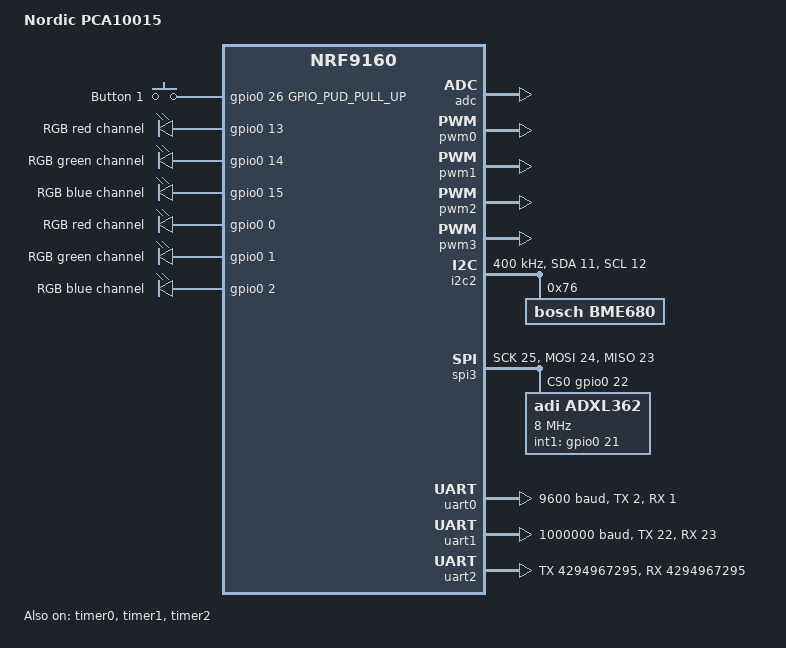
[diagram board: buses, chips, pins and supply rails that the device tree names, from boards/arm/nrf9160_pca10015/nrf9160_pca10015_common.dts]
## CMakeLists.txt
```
#
# Copyright (c) 2019-2021, Nordic Semiconductor ASA | nordicsemi.no
#
# SPDX-License-Identifier: LicenseRef-BSD-5-Clause-Nordic
#

cmake_minimum_required(VERSION 3.8.2)

find_package(Zephyr REQUIRED HINTS $ENV{ZEPHYR_BASE})
project(cat_tracker)

# NORDIC SDK APP START
target_sources(app PRIVATE src/main.c)
# NORDIC SDK APP END

# Include source directory
zephyr_include_directories(src)

# Application directories
add_subdirectory(src/ui)
add_subdirectory(src/cloud_codec)
add_subdirectory(src/ext_sensors)
add_subdirectory_ifdef(CONFIG_WATCHDOG src/watchdog)
```

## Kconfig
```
#
# Copyright (c) 2018-2021, Nordic Semiconductor ASA | nordicsemi.no
#
# SPDX-License-Identifier: LicenseRef-BSD-5-Clause-Nordic
#

menu "Cat Tracker sample"

rsource "src/ui/Kconfig"

menu "GPS"

config GPS_DEV_NAME
	string "GPS device name"
	default "NRF9160_GPS"

endmenu # GPS

menu "Firmware versioning"

config CAT_TRACKER_APP_VERSION
	string "The version of the cat tracker firmware"
	default "0.0.0-development"

config EXPECTED_MODEM_FIRMWARE_VERSION
	string "The expected modem firmware version"
	default "mfw_nrf9160_1.2.2"

endmenu # Firmware versioning

menu "Cloud"

config CLOUD_BACKEND
	string
	default "AWS_IOT"

config USE_CUSTOM_MQTT_CLIENT_ID
	bool "Use custom MQTT client ID"
	help
	  By default the device's IMEI is used as the client ID
	  for the MQTT connection. This allows to use a fixed
	  value instead. This is mostly useful when providing
	  firmware builds to continuous integration tests on
	  real hardware.
	  Note: you must only run this firmware build on one
	  device at a time.

config MQTT_CLIENT_ID
	depends on USE_CUSTOM_MQTT_CLIENT_ID
	string	"Configures the custom MQTT client ID"
	default "yoghurt"

endmenu # Cloud

menu "External sensors"

config EXTERNAL_SENSORS
	bool "Enable external sensors"
	default y if BOARD_THINGY91_NRF9160NS || BOARD_NRF9160_PCA10015NS

config ACCELEROMETER_DEV_NAME
	string "Accelerometer device name"

config MULTISENSOR_DEV_NAME
	string "Multisensor device name"

config ACCELEROMETER_TRIGGER
	bool "Accelerometer trigger"

endmenu # External sensors

menu "Cloud codec"

config SERIALIZATION_JSON
	bool "Cloud communication enconding"
	default y
	select CJSON_LIB

config GPS_BUFFER_MAX
	int "Sets the number of entries in the GPS buffer"
	default 20

config SENSOR_BUFFER_MAX
	int "Sets the number of entries in the sensor buffer"
	default 20

config MODEM_BUFFER_MAX
	int "Sets the number of entries in the modem buffer"
	default 20

config UI_BUFFER_MAX
	int "Sets the number of entries in the UI buffer"
	default 20

config ACCEL_BUFFER_MAX
	int "Sets the number of entries in the accelerometer buffer"
	default 20

config BAT_BUFFER_MAX
	int "Sets the number of entries in the battery buffer"
	default 20

config ENCODED_BUFFER_ENTRIES_MAX
	int "Maximum amount of encoded and published sensor buffer entries"
	default 7

config TIME_BETWEEN_ACCELEROMETER_BUFFER_STORE_SEC
	int "Time in between accelerometer buffer updates"
	default 10

endmenu # Cloud codec

menu "Watchdog"

config CAT_TRACKER_WATCHDOG_TIMEOUT_SEC
	int "Watchdog timeout in seconds"
	default 60

endmenu # Watchdog

endmenu

menu "Zephyr Kernel"
source "Kconfig.zephyr"
endmenu

module = CAT_TRACKER
module-str = Cat Tracker
source "subsys/logging/Kconfig.template.log_config"
```

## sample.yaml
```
sample:
  name: Cat Tracker Application
tests:
  test_build:
    build_only: true
    build_on_all: true
    platform_whitelist: nrf9160dk_nrf9160ns nrf9160_pca20035ns qemu_x86
    tags: ci_build
```

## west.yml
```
manifest:
  remotes:
    - name: nordic
      url-base: https://github.com/nrfconnect
  projects:
    - name: sdk-nrf
      path: nrf
      remote: nordic
      revision: ff710e16cd45c253a77b00c2d8fb39e006b6a19d
      import: true
  self:
    path: firmware
```

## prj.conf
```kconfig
#
# Copyright (c) 2019-2020 Nordic Semiconductor ASA
#
# SPDX-License-Identifier: LicenseRef-BSD-5-Clause-Nordic
#

# General config
CONFIG_NEWLIB_LIBC=y
CONFIG_NEWLIB_LIBC_FLOAT_PRINTF=y
CONFIG_ASSERT=y
CONFIG_REBOOT=y
CONFIG_LOG=y
CONFIG_LOG_IMMEDIATE=y
# Forces a maximal log level for all modules.
# Modules saturates their specified level if it is greater than this option,
# otherwise they use the level specified by this option instead of their default
# or whatever was manually set. Levels are:
#
# 0 OFF, logging is turned off
# 1 ERROR, maximal level set to LOG_LEVEL_ERR
# 2 WARNING, maximal level set to LOG_LEVEL_WRN
# 3 INFO, maximal level set to LOG_LEVEL_INFO
# 4 DEBUG, maximal level set to LOG_LEVEL_DBG
CONFIG_LOG_MAX_LEVEL=3

# Buttons and LEDs
CONFIG_DK_LIBRARY=y
CONFIG_DK_LIBRARY_INVERT_LEDS=n

# Network
CONFIG_NETWORKING=y
CONFIG_NET_SOCKETS=y
CONFIG_NET_SOCKETS_OFFLOAD=y

# LTE link control
CONFIG_LTE_LINK_CONTROL=y
CONFIG_LTE_AUTO_INIT_AND_CONNECT=n
CONFIG_LTE_NETWORK_MODE_NBIOT_GPS=y
CONFIG_LTE_PSM_REQ_RPTAU="01000011"
CONFIG_LTE_PSM_REQ_RAT="00000000"

# Modem info
CONFIG_MODEM_INFO=y

# BSD library
CONFIG_BSD_LIBRARY=y
CONFIG_BSD_LIBRARY_TRACE_ENABLED=n

# AT Host
CONFIG_AT_HOST_LIBRARY=n

# AWS IoT
CONFIG_CLOUD_API=y
CONFIG_AWS_IOT=y
CONFIG_AWS_IOT_TOPIC_UPDATE_DELTA_SUBSCRIBE=y
CONFIG_AWS_IOT_MQTT_RX_TX_BUFFER_LEN=2048
CONFIG_AWS_IOT_MQTT_PAYLOAD_BUFFER_LEN=2048
CONFIG_AWS_IOT_APP_SUBSCRIPTION_LIST_COUNT=1
CONFIG_AWS_IOT_CLIENT_ID_APP=y
CONFIG_AWS_IOT_SEC_TAG=42
CONFIG_AWS_IOT_PERSISTENT_SESSIONS=y
CONFIG_AWS_IOT_CONNECTION_POLL_THREAD=y

# GPS
CONFIG_NRF9160_GPS=y
CONFIG_NRF9160_GPS_LOG_LEVEL_DBG=y

# Console
CONFIG_CONSOLE_SUBSYS=y
CONFIG_CONSOLE_HANDLER=y
CONFIG_CONSOLE_GETCHAR=y

# Heap and stacks
CONFIG_HEAP_MEM_POOL_SIZE=16384
CONFIG_MAIN_STACK_SIZE=8192
CONFIG_SYSTEM_WORKQUEUE_STACK_SIZE=2048
CONFIG_HW_STACK_PROTECTION=y

# Disable native network stack to save some memory
CONFIG_NET_IPV4=n
CONFIG_NET_IPV6=n
CONFIG_NET_UDP=n
CONFIG_NET_TCP=n

# Settings
CONFIG_FLASH=y
CONFIG_FLASH_PAGE_LAYOUT=y
CONFIG_FLASH_MAP=y
CONFIG_FCB=y
CONFIG_SETTINGS=y
CONFIG_SETTINGS_FCB=y
CONFIG_MPU_ALLOW_FLASH_WRITE=y

# MCUBOOT
CONFIG_BOOTLOADER_MCUBOOT=y
CONFIG_IMG_MANAGER=y
CONFIG_MCUBOOT_IMG_MANAGER=y
CONFIG_IMG_ERASE_PROGRESSIVELY=y

# AWS FOTA
CONFIG_FOTA_DOWNLOAD=y
CONFIG_AWS_FOTA=y
CONFIG_AWS_FOTA_LOG_LEVEL_DBG=y
CONFIG_AWS_JOBS_LOG_LEVEL_DBG=y
CONFIG_DFU_TARGET=y

# Download client (needed by AWS FOTA)
CONFIG_DOWNLOAD_CLIENT=y
CONFIG_DOWNLOAD_CLIENT_STACK_SIZE=4096

# Time managing
CONFIG_DATE_TIME=y
CONFIG_DATE_TIME_LOG_LEVEL_DBG=y

# Fatal error
CONFIG_RESET_ON_FATAL_ERROR=n

# Watchdog
CONFIG_WATCHDOG=y
```

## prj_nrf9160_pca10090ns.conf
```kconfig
#
# Copyright (c) 2019-2020 Nordic Semiconductor ASA
#
# SPDX-License-Identifier: LicenseRef-BSD-5-Clause-Nordic
#

# General config
CONFIG_NEWLIB_LIBC=y
CONFIG_NEWLIB_LIBC_FLOAT_PRINTF=y
CONFIG_ASSERT=y
CONFIG_REBOOT=y
CONFIG_LOG=y
CONFIG_LOG_IMMEDIATE=y
# Forces a maximal log level for all modules.
# Modules saturates their specified level if it is greater than this option,
# otherwise they use the level specified by this option instead of their default
# or whatever was manually set. Levels are:
#
# 0 OFF, logging is turned off
# 1 ERROR, maximal level set to LOG_LEVEL_ERR
# 2 WARNING, maximal level set to LOG_LEVEL_WRN
# 3 INFO, maximal level set to LOG_LEVEL_INFO
# 4 DEBUG, maximal level set to LOG_LEVEL_DBG
CONFIG_LOG_MAX_LEVEL=3
# This enables debug messages from the cat tracker module in case
# CONFIG_LOG_MAX_LEVEL is set to 4
CONFIG_CAT_TRACKER_LOG_LEVEL_DBG=y

# Buttons and LEDs
CONFIG_DK_LIBRARY=y
CONFIG_DK_LIBRARY_INVERT_LEDS=n

# Network
CONFIG_NETWORKING=y
CONFIG_NET_SOCKETS=y
CONFIG_NET_SOCKETS_OFFLOAD=y

# LTE link control
CONFIG_LTE_LINK_CONTROL=y
CONFIG_LTE_AUTO_INIT_AND_CONNECT=n
CONFIG_LTE_NETWORK_MODE_NBIOT_GPS=y
CONFIG_LTE_PSM_REQ_RPTAU="01000011"
CONFIG_LTE_PSM_REQ_RAT="00000000"

# Modem info
CONFIG_MODEM_INFO=y

# BSD library
CONFIG_BSD_LIBRARY=y
CONFIG_BSD_LIBRARY_TRACE_ENABLED=n

# AT Host
CONFIG_AT_HOST_LIBRARY=n

# AWS IoT
CONFIG_CLOUD_API=y
CONFIG_AWS_IOT=y
CONFIG_AWS_IOT_TOPIC_UPDATE_DELTA_SUBSCRIBE=y
CONFIG_AWS_IOT_MQTT_RX_TX_BUFFER_LEN=2048
CONFIG_AWS_IOT_MQTT_PAYLOAD_BUFFER_LEN=2048
CONFIG_AWS_IOT_APP_SUBSCRIPTION_LIST_COUNT=1
CONFIG_AWS_IOT_CLIENT_ID_APP=y
CONFIG_AWS_IOT_SEC_TAG=42
CONFIG_AWS_IOT_PERSISTENT_SESSIONS=y
CONFIG_AWS_IOT_CONNECTION_POLL_THREAD=y

# GPS
CONFIG_NRF9160_GPS=y
CONFIG_NRF9160_GPS_LOG_LEVEL_DBG=y

# Console
CONFIG_CONSOLE_SUBSYS=y
CONFIG_CONSOLE_HANDLER=y
CONFIG_CONSOLE_GETCHAR=y

# Heap and stacks
CONFIG_HEAP_MEM_POOL_SIZE=16384
CONFIG_MAIN_STACK_SIZE=8192
CONFIG_SYSTEM_WORKQUEUE_STACK_SIZE=2048
CONFIG_HW_STACK_PROTECTION=y

# Disable native network stack to save some memory
CONFIG_NET_IPV4=n
CONFIG_NET_IPV6=n
CONFIG_NET_UDP=n
CONFIG_NET_TCP=n

# Settings
CONFIG_FLASH=y
CONFIG_FLASH_PAGE_LAYOUT=y
CONFIG_FLASH_MAP=y
CONFIG_FCB=y
CONFIG_SETTINGS=y
CONFIG_SETTINGS_FCB=y
CONFIG_MPU_ALLOW_FLASH_WRITE=y

# MCUBOOT
CONFIG_BOOTLOADER_MCUBOOT=y
CONFIG_IMG_MANAGER=y
CONFIG_MCUBOOT_IMG_MANAGER=y
CONFIG_IMG_ERASE_PROGRESSIVELY=y

# AWS FOTA
CONFIG_FOTA_DOWNLOAD=y
CONFIG_AWS_FOTA=y
CONFIG_AWS_FOTA_LOG_LEVEL_DBG=y
CONFIG_AWS_JOBS_LOG_LEVEL_DBG=y
CONFIG_DFU_TARGET=y

# Download client (needed by AWS FOTA)
CONFIG_DOWNLOAD_CLIENT=y
CONFIG_DOWNLOAD_CLIENT_STACK_SIZE=4096

# Time managing
CONFIG_DATE_TIME=y
CONFIG_DATE_TIME_LOG_LEVEL_DBG=y

# Fatal error
CONFIG_RESET_ON_FATAL_ERROR=n

# Watchdog
CONFIG_WATCHDOG=y
```

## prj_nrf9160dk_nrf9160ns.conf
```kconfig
#
# Copyright (c) 2019-2021, Nordic Semiconductor ASA | nordicsemi.no
#
# SPDX-License-Identifier: LicenseRef-BSD-5-Clause-Nordic
#

# General config
CONFIG_NEWLIB_LIBC=y
CONFIG_NEWLIB_LIBC_FLOAT_PRINTF=y
CONFIG_ASSERT=y
CONFIG_REBOOT=y
CONFIG_LOG=y
CONFIG_LOG_IMMEDIATE=y
# Forces a maximal log level for all modules.
# Modules saturates their specified level if it is greater than this option,
# otherwise they use the level specified by this option instead of their default
# or whatever was manually set. Levels are:
#
# 0 OFF, logging is turned off
# 1 ERROR, maximal level set to LOG_LEVEL_ERR
# 2 WARNING, maximal level set to LOG_LEVEL_WRN
# 3 INFO, maximal level set to LOG_LEVEL_INFO
# 4 DEBUG, maximal level set to LOG_LEVEL_DBG
CONFIG_LOG_MAX_LEVEL=3
# This enables debug messages from the cat tracker module in case
# CONFIG_LOG_MAX_LEVEL is set to 4
CONFIG_CAT_TRACKER_LOG_LEVEL_DBG=y

# Buttons and LEDs
CONFIG_DK_LIBRARY=y
CONFIG_DK_LIBRARY_INVERT_LEDS=n

# Network
CONFIG_NETWORKING=y
CONFIG_NET_SOCKETS=y
CONFIG_NET_SOCKETS_OFFLOAD=y

# LTE link control
CONFIG_LTE_LINK_CONTROL=y
CONFIG_LTE_AUTO_INIT_AND_CONNECT=n
CONFIG_LTE_NETWORK_MODE_NBIOT_GPS=y
CONFIG_LTE_PSM_REQ_RPTAU="01000011"
CONFIG_LTE_PSM_REQ_RAT="00000000"

# Modem info
CONFIG_MODEM_INFO=y

# BSD library
CONFIG_BSD_LIBRARY=y
CONFIG_BSD_LIBRARY_TRACE_ENABLED=n

# AT Host
CONFIG_AT_HOST_LIBRARY=n

# AWS IoT
CONFIG_CLOUD_API=y
CONFIG_AWS_IOT=y
CONFIG_AWS_IOT_TOPIC_UPDATE_DELTA_SUBSCRIBE=y
CONFIG_AWS_IOT_MQTT_RX_TX_BUFFER_LEN=2048
CONFIG_AWS_IOT_MQTT_PAYLOAD_BUFFER_LEN=2048
CONFIG_AWS_IOT_APP_SUBSCRIPTION_LIST_COUNT=1
CONFIG_AWS_IOT_CLIENT_ID_APP=y
CONFIG_AWS_IOT_SEC_TAG=42
CONFIG_AWS_IOT_CONNECTION_POLL_THREAD=y
CONFIG_AWS_IOT_LOG_LEVEL_DBG=y

# MQTT
CONFIG_MQTT_KEEPALIVE=1200
CONFIG_MQTT_CLEAN_SESSION=y

# GPS
CONFIG_NRF9160_GPS=y
CONFIG_NRF9160_GPS_LOG_LEVEL_DBG=y

# Console
CONFIG_CONSOLE_SUBSYS=y
CONFIG_CONSOLE_HANDLER=y
CONFIG_CONSOLE_GETCHAR=y

# Heap and stacks
CONFIG_HEAP_MEM_POOL_SIZE=16384
CONFIG_MAIN_STACK_SIZE=8192
CONFIG_SYSTEM_WORKQUEUE_STACK_SIZE=2048
CONFIG_HW_STACK_PROTECTION=y

# Disable native network stack to save some memory
CONFIG_NET_IPV4=n
CONFIG_NET_IPV6=n
CONFIG_NET_UDP=n
CONFIG_NET_TCP=n

# Settings
CONFIG_FLASH=y
CONFIG_FLASH_PAGE_LAYOUT=y
CONFIG_FLASH_MAP=y
CONFIG_FCB=y
CONFIG_SETTINGS=y
CONFIG_SETTINGS_FCB=y
CONFIG_MPU_ALLOW_FLASH_WRITE=y

# MCUBOOT
CONFIG_BOOTLOADER_MCUBOOT=y
CONFIG_IMG_MANAGER=y
CONFIG_MCUBOOT_IMG_MANAGER=y
CONFIG_IMG_ERASE_PROGRESSIVELY=y

# AWS FOTA
CONFIG_FOTA_DOWNLOAD=y
CONFIG_AWS_FOTA=y
CONFIG_AWS_FOTA_LOG_LEVEL_DBG=y
CONFIG_AWS_JOBS_LOG_LEVEL_DBG=y
CONFIG_DFU_TARGET=y

# Download client (needed by AWS FOTA)
CONFIG_DOWNLOAD_CLIENT=y
CONFIG_DOWNLOAD_CLIENT_STACK_SIZE=4096
CONFIG_DOWNLOAD_CLIENT_MAX_HOSTNAME_SIZE=255
CONFIG_DOWNLOAD_CLIENT_MAX_FILENAME_SIZE=255

# Time managing
CONFIG_DATE_TIME=y
CONFIG_DATE_TIME_LOG_LEVEL_DBG=y

# Fatal error
CONFIG_RESET_ON_FATAL_ERROR=n

# Watchdog
CONFIG_WATCHDOG=y
```

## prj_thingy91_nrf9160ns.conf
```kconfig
#
# Copyright (c) 2019-2021, Nordic Semiconductor ASA | nordicsemi.no
#
# SPDX-License-Identifier: LicenseRef-BSD-5-Clause-Nordic
#

# General config
CONFIG_NEWLIB_LIBC=y
CONFIG_NEWLIB_LIBC_FLOAT_PRINTF=y
CONFIG_ASSERT=y
CONFIG_REBOOT=y
CONFIG_LOG=y
CONFIG_LOG_IMMEDIATE=y
# Forces a maximal log level for all modules.
# Modules saturates their specified level if it is greater than this option,
# otherwise they use the level specified by this option instead of their default
# or whatever was manually set. Levels are:
#
# 0 OFF, logging is turned off
# 1 ERROR, maximal level set to LOG_LEVEL_ERR
# 2 WARNING, maximal level set to LOG_LEVEL_WRN
# 3 INFO, maximal level set to LOG_LEVEL_INFO
# 4 DEBUG, maximal level set to LOG_LEVEL_DBG
CONFIG_LOG_MAX_LEVEL=3
# This enables debug messages from the cat tracker module in case
# CONFIG_LOG_MAX_LEVEL is set to 4
CONFIG_CAT_TRACKER_LOG_LEVEL_DBG=y

# Buttons and LEDs
CONFIG_DK_LIBRARY=y
CONFIG_DK_LIBRARY_INVERT_LEDS=n

# Network
CONFIG_NETWORKING=y
CONFIG_NET_SOCKETS=y
CONFIG_NET_SOCKETS_OFFLOAD=y

# LTE link control
CONFIG_LTE_LINK_CONTROL=y
CONFIG_LTE_AUTO_INIT_AND_CONNECT=n
CONFIG_LTE_NETWORK_MODE_NBIOT_GPS=y
CONFIG_LTE_PSM_REQ_RPTAU="01000011"
CONFIG_LTE_PSM_REQ_RAT="00000000"

# Modem info
CONFIG_MODEM_INFO=y

# BSD library
CONFIG_BSD_LIBRARY=y
CONFIG_BSD_LIBRARY_TRACE_ENABLED=n

# AT Host
CONFIG_AT_HOST_LIBRARY=n

# AWS IoT
CONFIG_CLOUD_API=y
CONFIG_AWS_IOT=y
CONFIG_AWS_IOT_TOPIC_UPDATE_DELTA_SUBSCRIBE=y
CONFIG_AWS_IOT_MQTT_RX_TX_BUFFER_LEN=2048
CONFIG_AWS_IOT_MQTT_PAYLOAD_BUFFER_LEN=2048
CONFIG_AWS_IOT_APP_SUBSCRIPTION_LIST_COUNT=1
CONFIG_AWS_IOT_CLIENT_ID_APP=y
CONFIG_AWS_IOT_SEC_TAG=42
CONFIG_AWS_IOT_CONNECTION_POLL_THREAD=y
CONFIG_AWS_IOT_LOG_LEVEL_DBG=y

# MQTT
CONFIG_MQTT_KEEPALIVE=1200
CONFIG_MQTT_CLEAN_SESSION=y

# GPS
CONFIG_NRF9160_GPS=y
CONFIG_NRF9160_GPS_LOG_LEVEL_DBG=y

# Sensor API
CONFIG_SENSOR=y

# Accelerometer
CONFIG_ACCELEROMETER_DEV_NAME="ADXL362"
CONFIG_ADXL362=y
CONFIG_SPI=y
CONFIG_ACCELEROMETER_TRIGGER=y
CONFIG_ADXL362_TRIGGER_GLOBAL_THREAD=y
CONFIG_ADXL362_INTERRUPT_MODE=1
CONFIG_ADXL362_ABS_REF_MODE=1
CONFIG_ADXL362_ACTIVITY_THRESHOLD=400
CONFIG_ADXL362_INACTIVITY_THRESHOLD=300

# Temperature and humidity
CONFIG_MULTISENSOR_DEV_NAME="BME680"
CONFIG_BME680=y

# Console
CONFIG_CONSOLE_SUBSYS=y
CONFIG_CONSOLE_HANDLER=y
CONFIG_CONSOLE_GETCHAR=y

# Heap and stacks
CONFIG_HEAP_MEM_POOL_SIZE=16384
CONFIG_MAIN_STACK_SIZE=8192
CONFIG_SYSTEM_WORKQUEUE_STACK_SIZE=2048
CONFIG_HW_STACK_PROTECTION=y

# Disable native network stack to save some memory
CONFIG_NET_IPV4=n
CONFIG_NET_IPV6=n
CONFIG_NET_UDP=n
CONFIG_NET_TCP=n

# Settings
CONFIG_FLASH=y
CONFIG_FLASH_PAGE_LAYOUT=y
CONFIG_FLASH_MAP=y
CONFIG_FCB=y
CONFIG_SETTINGS=y
CONFIG_SETTINGS_FCB=y
CONFIG_MPU_ALLOW_FLASH_WRITE=y

# MCUBOOT
CONFIG_BOOTLOADER_MCUBOOT=y
CONFIG_IMG_MANAGER=y
CONFIG_MCUBOOT_IMG_MANAGER=y
CONFIG_IMG_ERASE_PROGRESSIVELY=y

# AWS FOTA
CONFIG_FOTA_DOWNLOAD=y
CONFIG_AWS_FOTA=y
CONFIG_AWS_FOTA_LOG_LEVEL_DBG=y
CONFIG_AWS_JOBS_LOG_LEVEL_DBG=y
CONFIG_DFU_TARGET=y

# Download client (needed by AWS FOTA)
CONFIG_DOWNLOAD_CLIENT=y
CONFIG_DOWNLOAD_CLIENT_STACK_SIZE=4096

# Time managing
CONFIG_DATE_TIME=y
CONFIG_DATE_TIME_LOG_LEVEL_DBG=y

# Fatal error
CONFIG_RESET_ON_FATAL_ERROR=n

# Watchdog
CONFIG_WATCHDOG=y
```

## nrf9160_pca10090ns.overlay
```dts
&spi3 {
	status = "okay";
	sck-pin = <10>;
	mosi-pin = <11>;
	miso-pin = <12>;
	cs-gpios = <&gpio0 30 0>, <&gpio0 7 0>;

	adxl362@0 {
		compatible = "adi,adxl362";
		label = "ADXL362";
		spi-max-frequency = <8000000>;
		reg = <0>;
		int1-gpios = <&gpio0 31 0>;
	};
};
```

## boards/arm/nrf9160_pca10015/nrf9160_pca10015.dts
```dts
/*
 * Copyright (c) 2019 Nordic Semiconductor ASA
 *
 * SPDX-License-Identifier: LicenseRef-BSD-5-Clause-Nordic
 */

/dts-v1/;
#include <nordic/nrf9160_sica.dtsi>
#include "nrf9160_pca10015_common.dts"

/ {
	chosen {
		zephyr,sram = &sram0;
		zephyr,flash = &flash0;
		zephyr,code-partition = &slot0_partition;
	};
};
```

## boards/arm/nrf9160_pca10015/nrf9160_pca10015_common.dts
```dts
/*
 * Copyright (c) 2019 Nordic Semiconductor ASA
 *
 * SPDX-License-Identifier: LicenseRef-BSD-5-Clause-Nordic
 */

/ {
	model = "Nordic PCA10015";
	compatible = "nordic,pca10015", "nordic,nrf9160-sica",
		     "nordic,nrf9160";

	chosen {
		zephyr,console = &uart0;
		zephyr,shell-uart = &uart0;
		zephyr,uart-mcumgr = &uart0;
	};

	buttons {
		compatible = "gpio-keys";

		button0: button_0 {
			gpios = <&gpio0 26 GPIO_PUD_PULL_UP>;
			label = "Button 1";
		};
	};

	leds {
		compatible = "gpio-leds";
		red_led: led_1 {
			gpios = <&gpio0 13 0>;
			label = "RGB red channel";
		};
		green_led: led_2 {
			gpios = <&gpio0 14 0>;
			label = "RGB green channel";
		};
		blue_led: led_3 {
			gpios = <&gpio0 15 0>;
			label = "RGB blue channel";
		};
		sense_red_led: led_4 {
			gpios = <&gpio0 0 0>;
			label = "RGB red channel";
		};
		sense_green_led: led_5 {
			gpios = <&gpio0 1 0>;
			label = "RGB green channel";
		};
		sense_blue_led: led_6 {
			gpios = <&gpio0 2 0>;
			label = "RGB blue channel";
		};
	};

	aliases {
		sw0 = &button0;
		led0 = &red_led;
		led1 = &green_led;
		led2 = &blue_led;
		sense-led0 = &sense_red_led;
		sense-led1 = &sense_green_led;
		sense-led2 = &sense_blue_led;
		rgb-pwm = &pwm0;
		buzzer-pwm = &pwm1;
		nmos-pwm = &pwm2;
	};
};

&adc {
	status = "okay";
};

&gpiote {
	status = "okay";
};

&gpio0 {
	status = "okay";
};

/* PWM0 is intended for RGB LED control */
&pwm0 {
	status = "okay";
	ch0-pin = <13>;
	ch1-pin = <14>;
	ch2-pin = <15>;
};

/* PWM1 is intended for buzzer control */
&pwm1 {
	status = "okay";
	ch0-pin = <28>;
};

/* PWM2 is intended for NMOS transistor control */
&pwm2 {
	status = "okay";
	ch0-pin = <13>;
	ch1-pin = <14>;
	ch2-pin = <15>;
	ch3-pin = <16>;
};

&pwm3 {
	status = "okay";
};

&i2c2 {
	compatible = "nordic,nrf-twim";	
	status = "okay";
	sda-pin = <11>;
	scl-pin = <12>;
	clock-frequency = <I2C_BITRATE_FAST>;

	bme680@76 {
		compatible = "bosch,bme680";
		label = "BME680";
		reg = <0x76>;
	};
};

&spi3 {
	compatible = "nordic,nrf-spim";	
	status = "okay";
	sck-pin = <25>;
	mosi-pin = <24>;
	miso-pin = <23>;
	cs-gpios = <&gpio0 22 0>, <&gpio0 7 0>;

	adxl362@0 {
		compatible = "adi,adxl362";
		label = "ADXL362";
		spi-max-frequency = <8000000>;
		reg = <0>;
		int1-gpios = <&gpio0 21 0>;
	};
};

&timer0 {
	status = "okay";
};

&timer1 {
	status = "okay";
};

&timer2 {
	status = "okay";
};

&uart0 {
	current-speed = <9600>;
	status = "okay";
	tx-pin = <2>;
	rx-pin = <1>;
	rts-pin = <3>;
	cts-pin = <4>;
};

&uart1 {
	current-speed = <1000000>;
	status = "okay";
	tx-pin = <22>;
	rx-pin = <23>;
	rts-pin = <24>;
	cts-pin = <25>;
};

/*
 * UART2 must be enabled for defines to be available for SPM for now.
 * "Required" pins are set to the disconnect value 0xFFFFFFFF.
 */
&uart2 {
	status = "okay";
	tx-pin = <0xFFFFFFFF>;
	rx-pin = <0xFFFFFFFF>;
};

&flash0 {
	/*
	 * For more information, see:
	 * http://docs.zephyrproject.org/devices/dts/flash_partitions.html
	 */
	partitions {
		compatible = "fixed-partitions";
		#address-cells = <1>;
		#size-cells = <1>;

		boot_partition: partition@0 {
			label = "mcuboot";
			reg = <0x00000000 0x10000>;
		};
		slot0_partition: partition@10000 {
			label = "image-0";
		};
		slot0_ns_partition: partition@40000 {
			label = "image-0-nonsecure";
		};
		slot1_partition: partition@80000 {
			label = "image-1";
		};
		slot1_ns_partition: partition@b0000 {
			label = "image-1-nonsecure";
		};
		scratch_partition: partition@f0000 {
			label = "image-scratch";
			reg = <0x000f0000 0xa000>;
		};
		storage_partition: partition@fa000 {
			label = "storage";
			reg = <0x000fa000 0x00006000>;
		};
	};
};

/ {
	/* SRAM allocated and used by the BSD library */
	sram0_bsd: memory@20010000 {
		device_type = "memory";
		compatible = "mmio-sram";
	};

	/* SRAM allocated to the Non-Secure image */
	sram0_ns: memory@20020000 {
		device_type = "memory";
		compatible = "mmio-sram";
	};
};

/* Include partition configuration file */
#include "nrf9160_pca10015_partition_conf.dts"
```

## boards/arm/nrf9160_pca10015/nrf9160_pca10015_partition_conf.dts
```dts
/*
 * Copyright (c) 2019 Nordic Semiconductor ASA
 *
 * SPDX-License-Identifier: LicenseRef-BSD-5-Clause-Nordic
 */

/*
 * Default Flash planning for nRF9160_pca10015.
 *
 * Zephyr build for nRF9160 with ARM TrustZone-M support,
 * implies building Secure and Non-Secure Zephyr images.
 *
 * Secure image will be placed, by default, in flash0
 * (or in slot0, if MCUboot is present).
 * Secure image will use sram0 for system memory.
 *
 * Non-Secure image will be placed in slot0_ns, and use
 * sram0_ns for system memory.
 *
 * Note that the Secure image only requires knowledge of
 * the beginning of the Non-Secure image (not its size).
 */

&slot0_partition {
	reg = <0x00010000 0x30000>;
};

&slot0_ns_partition {
	reg = <0x00040000 0x40000>;
};

&slot1_partition {
	reg = <0x00080000 0x30000>;
};

&slot1_ns_partition {
	reg = <0x000b0000 0x40000>;
};

/* Default SRAM planning when building for nRF9160 with
 * ARM TrustZone-M support
 * - Lowest 64 kB SRAM allocated to Secure image (sram0).
 * - 64 kB SRAM reserved for and used by the BSD socket
 *   library.
 * - Upper 128 kB allocated to Non-Secure image (sram0_ns).
 */

&sram0 {
	reg = <0x20000000 DT_SIZE_K(64)>;
};

&sram0_bsd {
	reg = <0x20010000 DT_SIZE_K(64)>;
};

&sram0_ns {
	reg = <0x20020000 DT_SIZE_K(128)>;
};
```

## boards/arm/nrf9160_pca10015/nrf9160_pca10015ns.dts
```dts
/*
 * Copyright (c) 2019 Nordic Semiconductor ASA
 *
 * SPDX-License-Identifier: LicenseRef-BSD-5-Clause-Nordic
 */

/dts-v1/;
#include <nordic/nrf9160ns_sica.dtsi>
#include "nrf9160_pca10015_common.dts"

/ {
	chosen {
		zephyr,flash = &flash0;
		zephyr,sram = &sram0_ns;
		zephyr,code-partition = &slot0_ns_partition;
	};
};
```

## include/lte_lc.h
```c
/**
 * @file lte_lc.h
 *
 * @brief Public APIs for the LTE Link Control driver.
 */

/*
 * Copyright (c) 2018 Nordic Semiconductor ASA
 *
 * SPDX-License-Identifier: LicenseRef-BSD-5-Clause-Nordic
 */
#ifndef ZEPHYR_INCLUDE_LTE_LINK_CONTROL_H_
#define ZEPHYR_INCLUDE_LTE_LINK_CONTROL_H_

#include <stdbool.h>

/* NOTE: enum lte_lc_nw_reg_status maps directly to the registration status
 *	 as returned by the AT command "AT+CEREG?".
 */
enum lte_lc_nw_reg_status {
	LTE_LC_NW_REG_NOT_REGISTERED		= 0,
	LTE_LC_NW_REG_REGISTERED_HOME		= 1,
	LTE_LC_NW_REG_SEARCHING			= 2,
	LTE_LC_NW_REG_REGISTRATION_DENIED	= 3,
	LTE_LC_NW_REG_UNKNOWN			= 4,
	LTE_LC_NW_REG_REGISTERED_ROAMING	= 5,
	LTE_LC_NW_REG_REGISTERED_EMERGENCY	= 8,
	LTE_LC_NW_REG_UICC_FAIL			= 90
};

enum lte_lc_system_mode {
	LTE_LC_SYSTEM_MODE_NONE,
	LTE_LC_SYSTEM_MODE_LTEM,
	LTE_LC_SYSTEM_MODE_NBIOT,
	LTE_LC_SYSTEM_MODE_GPS,
	LTE_LC_SYSTEM_MODE_LTEM_GPS,
	LTE_LC_SYSTEM_MODE_NBIOT_GPS
};

/* NOTE: enum lte_lc_func_mode maps directly to the functional mode
 *	 as returned by the AT command "AT+CFUN?".
 */
enum lte_lc_func_mode {
	LTE_LC_FUNC_MODE_POWER_OFF		= 0,
	LTE_LC_FUNC_MODE_NORMAL			= 1,
	LTE_LC_FUNC_MODE_OFFLINE		= 4,
	LTE_LC_FUNC_MODE_OFFLINE_UICC_ON	= 44
};

/** @brief Function for initializing
 * the modem.  NOTE: a follow-up call to lte_lc_connect()
 * must be made.
 *
 * @return Zero on success or (negative) error code otherwise.
 */
int lte_lc_init(void);

/** @brief Function to make a connection with the modem.
 * NOTE: prior to calling this function a call to lte_lc_init()
 * must be made.
 *
 * @return Zero on success or (negative) error code otherwise.
 */
int lte_lc_connect(void);

/** @brief Function for initializing
 * and make a connection with the modem
 *
 * @return Zero on success or (negative) error code otherwise.
 */
int lte_lc_init_and_connect(void);

/** @brief Function for sending the modem to offline mode
 *
 * @return Zero on success or (negative) error code otherwise.
 */
int lte_lc_offline(void);

/** @brief Function for sending the modem to power off mode
 *
 * @return Zero on success or (negative) error code otherwise.
 */
int lte_lc_power_off(void);

/** @brief Function for sending the modem to normal mode
 *
 * @return Zero on success or (negative) error code otherwise.
 */
int lte_lc_normal(void);

/** @brief Function for requesting modem to go to or disable
 * power saving mode (PSM) with default settings defined in kconfig.
 * For reference see 3GPP 27.007 Ch. 7.38.
 *
 * @return Zero on success or (negative) error code otherwise.
 */
int lte_lc_psm_req(bool enable);

/**@brief Function for getting the current PSM (Power Saving Mode)
 *	  configurations for periodic TAU (Tracking Area Update) and
 *	  active time, both in units of seconds.
 *
 * @param tau Pointer to the variable for parsed periodic TAU interval in
 *	      seconds. Positive integer, or -1 if timer is deactivated.
 * @param active_time Pointer to the variable for parsed active time in seconds.
 *		      Positive integer, or -1 if timer is deactivated.
 *
 * @return Zero on success or (negative) error code otherwise.
 */
int lte_lc_psm_get(int *tau, int *active_time);

/** @brief Function for requesting modem to use eDRX or disable
 * use of values defined in kconfig.
 * For reference see 3GPP 27.007 Ch. 7.40.
 *
 * @return Zero on success or (negative) error code otherwise.
 */
int lte_lc_edrx_req(bool enable);

/**@brief Get the current network registration status.
 *
 * @param status Pointer for network registation status.
 *
 * @return Zero on success or (negative) error code otherwise.
 */
int lte_lc_nw_reg_status_get(enum lte_lc_nw_reg_status *status);

/**@brief Set the modem's system mode.
 *
 * @param mode System mode to set.
 *
 * @return Zero on success or (negative) error code otherwise.
 */
int lte_lc_system_mode_set(enum lte_lc_system_mode mode);

/**@brief Get the modem's system mode.
 *
 * @param mode Pointer to system mode variable.
 *
 * @return Zero on success or (negative) error code otherwise.
 */
int lte_lc_system_mode_get(enum lte_lc_system_mode *mode);

/**@brief Get the modem's functional mode.
 *
 * @param mode Pointer to functional mode variable.
 *
 * @return Zero on success or (negative) error code otherwise.
 */
int lte_lc_func_mode_get(enum lte_lc_func_mode *mode);

/**@brief Set network to GPS mode.
 *
 * @return Zero on success or (negative) error code otherwise.
 */
int lte_lc_gps_nw_mode(void);

#endif /* ZEPHYR_INCLUDE_LTE_LINK_CONTROL_H_ */
```

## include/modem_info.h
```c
/*
 * Copyright (c) 2019 Nordic Semiconductor ASA
 *
 * SPDX-License-Identifier: LicenseRef-BSD-5-Clause-Nordic
 */

#ifndef ZEPHYR_INCLUDE_MODEM_INFO_H_
#define ZEPHYR_INCLUDE_MODEM_INFO_H_

#ifdef CONFIG_CJSON_LIB
#include <cJSON.h>
#endif

/**
 * @file modem_info.h
 *
 * @brief API for retrieving modem information.
 * @defgroup modem_info API for retrieving modem information
 * @{
 */

/** Largest expected parameter response size. */
#define MODEM_INFO_MAX_RESPONSE_SIZE 100

/** Size of the JSON string. */
#define MODEM_INFO_JSON_STRING_SIZE 512

/** RSRP offset value. */
#define MODEM_INFO_RSRP_OFFSET_VAL 141

/** Maximum string size of the network mode string */
#define MODEM_INFO_NETWORK_MODE_MAX_SIZE 12

/**@brief RSRP event handler function protoype. */
typedef void (*rsrp_cb_t)(char rsrp_value);

/**@brief LTE link information data. */
enum modem_info {
	MODEM_INFO_RSRP,	/**< Signal strength. */
	MODEM_INFO_CUR_BAND,	/**< Current LTE band. */
	MODEM_INFO_SUP_BAND,	/**< Supported LTE bands. */
	MODEM_INFO_AREA_CODE,   /**< Tracking area code. */
	MODEM_INFO_UE_MODE,	/**< Current mode. */
	MODEM_INFO_OPERATOR,	/**< Current operator name. */
	MODEM_INFO_MCC,		/**< Mobile country code. */
	MODEM_INFO_MNC,		/**< Mobile network code. */
	MODEM_INFO_CELLID,	/**< Cell ID of the device. */
	MODEM_INFO_IP_ADDRESS,  /**< IP address of the device. */
	MODEM_INFO_UICC,	/**< UICC state. */
	MODEM_INFO_BATTERY,	/**< Battery voltage. */
	MODEM_INFO_TEMP,	/**< Temperature level. */
	MODEM_INFO_FW_VERSION,  /**< Modem firmware version. */
	MODEM_INFO_ICCID,	/**< SIM ICCID. */
	MODEM_INFO_LTE_MODE,	/**< LTE-M support mode. */
	MODEM_INFO_NBIOT_MODE,	/**< NB-IoT support mode. */
	MODEM_INFO_GPS_MODE,	/**< GPS support mode. */
	MODEM_INFO_IMSI,	/**< Mobile subscriber identity. */
	MODEM_INFO_IMEI,	/**< Modem serial number. */
	MODEM_INFO_DATE_TIME,	/**< Mobile network time and date */
	MODEM_INFO_COUNT,	/**< Number of legal elements in the enum. */
};

/**@brief LTE parameter data. **/
struct lte_param {
	union {
		u16_t value; /**< The retrieved value. */
		s64_t epoch;
	};
	char value_string
		[MODEM_INFO_MAX_RESPONSE_SIZE]; /**< Value in string format. */
	char *data_name; /**< The name of the information type. */
	enum modem_info type; /**< The information type. */
};

/**@brief Network parameters. **/
struct network_param {
	struct lte_param current_band; /**< Current LTE band. */
	struct lte_param sup_band; /**< Supported LTE bands. */
	struct lte_param area_code; /**< Tracking area code. */
	struct lte_param current_operator; /**< Current operator. */
	struct lte_param mcc; /**< Mobile country code. */
	struct lte_param mnc; /**< Mobile network code. */
	struct lte_param date_time; /**< Network time. */
	struct lte_param
		cellid_hex; /**< Cell ID of the device (in HEX format). */
	struct lte_param ip_address; /**< IP address of the device. */
	struct lte_param ue_mode; /**< Current mode. */
	struct lte_param lte_mode; /**< LTE-M support mode. */
	struct lte_param nbiot_mode; /**< NB-IoT support mode. */
	struct lte_param gps_mode; /**< GPS support mode. */
	struct lte_param date_time; /**< Mobile network time and date */

	double cellid_dec; /**< Cell ID of the device (in decimal format). */
	char network_mode[MODEM_INFO_NETWORK_MODE_MAX_SIZE];
};

/**@brief SIM card parameters. */
struct sim_param {
	struct lte_param uicc; /**< UICC state. */
	struct lte_param iccid; /**< SIM ICCID. */
	struct lte_param imsi; /**< Mobile subscriber identity. */
};

/**@brief Device parameters. */
struct device_param {
	struct lte_param modem_fw; /**< Modem firmware version. */
	struct lte_param battery; /**< Battery voltage. */
	struct lte_param imei; /**< Modem serial number. */
	const char *board; /**< Board version. */
	const char *app_version; /**< Application version. */
	const char *app_name; /**< Application name. */
};

/**@brief Modem parameters. */
struct modem_param_info {
	struct network_param network; /**< Network parameters. */
	struct sim_param sim; /**< SIM card parameters. */
	struct device_param device; /**< Device parameters. */
};

/** @brief Initialize the modem information module.
 *
 * @retval 0 If the operation was successful.
 *           Otherwise, a (negative) error code is returned.
 */
int modem_info_init(void);

/** @brief Initialize the structure that stores modem information.
 *
 * @param modem_param Pointer to the modem parameter structure.
 *
 * @retval 0 If the operation was successful.
 *           Otherwise, a (negative) error code is returned.
 */
int modem_info_params_init(struct modem_param_info *modem_param);

/** @brief Initialize the subscription of RSRP values.
 *
 * @param cb Callback function.
 *
 * @retval 0 If the operation was successful.
 *           Otherwise, a (negative) error code is returned.
 */
int modem_info_rsrp_register(rsrp_cb_t cb);

/** @brief Request the current modem status of any predefined
 *         information value as a string.
 *
 * If the data parameter returned by the modem is originally a
 * short, it is still returned as a string.
 *
 * @param info The requested information type.
 * @param buf  The string where to store the information.
 *
 * @return Length of received data if the operation was successful.
 *         Otherwise, a (negative) error code is returned.
 */
int modem_info_string_get(enum modem_info info, char *buf);

/** @brief Request the current modem status of any predefined
 *         information value as a short.
 *
 * If the data parameter returned by the modem is originally a
 * string, this function fails.
 *
 * @param info The requested information type.
 * @param buf  The short where to store the information.
 *
 * @return Length of received data if the operation was successful.
 *         Otherwise, a (negative) error code is returned.
 */
int modem_info_short_get(enum modem_info info, u16_t *buf);

/** @brief Request the name of a modem information data type.
 *
 * @param info The requested information type.
 * @param buf  The string where to store the name.
 *
 * @return Length of received data if the operation was successful.
 *         Otherwise, a (negative) error code is returned.
 */
int modem_info_name_get(enum modem_info info, char *name);

/** @brief Request the data type of the current modem information
 *         type.
 *
 * @param info The requested information type.
 *
 * @return The data type of the requested modem information data.
 *         Otherwise, a (negative) error code is returned.
 */
enum at_param_type modem_info_type_get(enum modem_info info);

#ifdef CONFIG_CJSON_LIB
/** @brief Encode the modem parameters.
 *
 * The data is added to the string buffer with JSON formatting.
 *
 * @param modem_param Pointer to the modem parameter structure.
 * @param buf         The buffer where the string will be written.
 *
 * @return Length of the string buffer data if the operation was
 *         successful.
 *         Otherwise, a (negative) error code is returned.
 */
int modem_info_json_string_encode(struct modem_param_info *modem_param,
				  char *buf);

/** @brief Encode the modem parameters.
 *
 * The data is stored to a JSON object.
 *
 * @param modem_param Pointer to the modem parameter structure.
 * @param root_obj    The JSON object where to store the data.
 *
 * @return Number of JSON objects added to root_obj if the
 *         operation was successful.
 *         Otherwise, a (negative) error code is returned.
 */
int modem_info_json_object_encode(struct modem_param_info *modem,
				  cJSON *root_obj);
#endif

/** @brief Obtain the modem parameters.
 *
 * The data is stored in the provided info structure.
 *
 * @param modem_param Pointer to the storage parameters.
 *
 * @retval 0 If the operation was successful.
 *           Otherwise, a (negative) error code is returned.
 */
int modem_info_params_get(struct modem_param_info *modem_param);

/** @} */

#endif /* ZEPHYR_INCLUDE_MODEM_INFO_H_ */
```

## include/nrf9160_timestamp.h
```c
/*
 * Copyright (c) 2019 Nordic Semiconductor ASA
 *
 * SPDX-License-Identifier: LicenseRef-BSD-5-Clause-Nordic
 */

#ifndef NRF9160_TIMESTAMP_H__
#define NRF9160_TIMESTAMP_H__

#include <zephyr/types.h>
#include <time.h>

#ifdef __cplusplus
extern "C" {
#endif

/** @brief Initiate nRF9160 time module.
 * 
 *  @return 0 If the operation was successful.
 *            Otherwise, a (negative) error code is returned.
 */
void nrf9160_time_init(void);

/** @brief Set current date time (UTC).
 *
 *  @param new_date_time Pointer to a tm structure.
 * 
 *  @return 0 If the operation was successful.
 *            Otherwise, a (negative) error code is returned.
 */
void date_time_set(struct tm *new_date_time);

/** @brief Get the current time UTC when the data was sampled.
 *         This function requires that k_uptime_get has been called
 *         on the passing variable unix_timestamp_ms variable at a point
 *         prior to calling get_date_time.
 *
 *  @param timestamp Pointer to the timestamp structure.
 * 
 *  @param type Desired format of timestamp.
 *
 *  @retval 0 If the operation was successful.
 *            Otherwise, a (negative) error code is returned.
 */
int date_time_get(s64_t *unix_timestamp_ms);

#ifdef __cplusplus
}
#endif

#endif /* NRF9160_TIMESTAMP__ */
```
